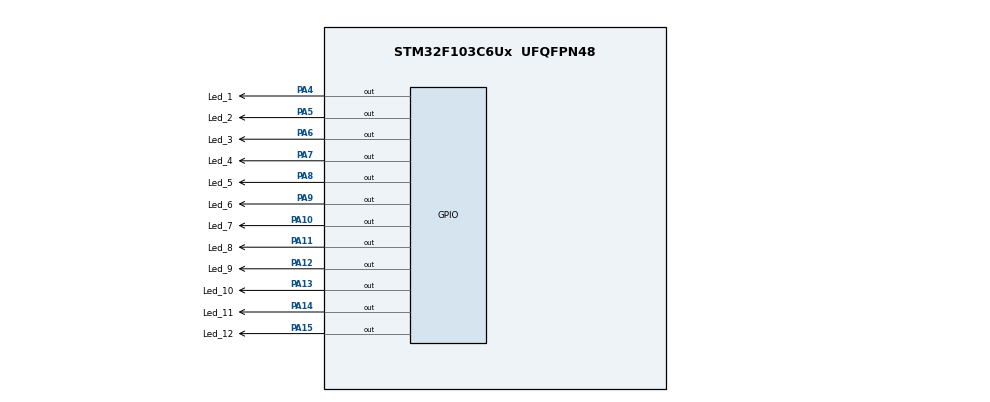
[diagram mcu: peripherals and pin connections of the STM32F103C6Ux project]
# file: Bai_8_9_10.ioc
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Mcu.Family=STM32F1
Mcu.Name=STM32F103C6Ux
Mcu.Package=UFQFPN48
NVIC.PriorityGroup=NVIC_PRIORITYGROUP_4
PA10.GPIO_Label=Led_7
PA10.Signal=GPIO_Output
PA11.GPIO_Label=Led_8
PA11.Signal=GPIO_Output
PA12.GPIO_Label=Led_9
PA12.Signal=GPIO_Output
PA13.GPIO_Label=Led_10
PA13.Signal=GPIO_Output
PA14.GPIO_Label=Led_11
PA14.Signal=GPIO_Output
PA15.GPIO_Label=Led_12
PA15.Signal=GPIO_Output
PA4.GPIO_Label=Led_1
PA4.Signal=GPIO_Output
PA5.GPIO_Label=Led_2
PA5.Signal=GPIO_Output
PA6.GPIO_Label=Led_3
PA6.Signal=GPIO_Output
PA7.GPIO_Label=Led_4
PA7.Signal=GPIO_Output
PA8.GPIO_Label=Led_5
PA8.Signal=GPIO_Output
PA9.GPIO_Label=Led_6
PA9.Signal=GPIO_Output
ProjectManager.HeapSize=0x200
ProjectManager.StackSize=0x400
ProjectManager.TargetToolchain=STM32CubeIDE
RCC.APB1Freq_Value=8000000
RCC.APB2Freq_Value=8000000
VP_SYS_VS_ND.Mode=No_Debug
board=custom

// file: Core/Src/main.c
/* USER CODE BEGIN Header */
/**
  ******************************************************************************
  * @file           : main.c
  * @brief          : Main program body (12-LED clock; Cycle1 -> Cycle2 -> Cycle3 realtime)
  ******************************************************************************
  * @attention
  *
  * Copyright (c) 2025.
  * All rights reserved.
  *
  ******************************************************************************
  */
/* USER CODE END Header */

#include "main.h"
#include <stdbool.h>

/* USER CODE BEGIN PD */

/* Cycle 3 step delay in milliseconds (1 second real-time) */
#define CYCLE3_STEP_MS 50

/* If LED is active HIGH set 1, if active LOW set 0 (default = 0) */
#define LED_ACTIVE_HIGH 0

/* USER CODE END PD */

/* RTC-like internal time for Cycle 3 (starts at 00:00:00) */
static int rtc_hour   = 0;
static int rtc_minute = 0;
static int rtc_second = 0;

void SystemClock_Config(void);
static void MX_GPIO_Init(void);
void Error_Handler(void);

/* Cycle functions */
void setNumberOnClock(int num);
void clearNumberOnClock(int num);
void displayClockRealtime(void);
void signalCycleEnd(int times, uint32_t on_ms, uint32_t off_ms);

/* USER CODE BEGIN 0 */

/* Map LED ports: use Led_x_GPIO_Port if CubeMX generated them, otherwise default to GPIOA */
#ifdef Led_1_GPIO_Port
  #define LED1_PORT Led_1_GPIO_Port
#else
  #define LED1_PORT GPIOA
#endif

#ifdef Led_2_GPIO_Port
  #define LED2_PORT Led_2_GPIO_Port
#else
  #define LED2_PORT GPIOA
#endif

#ifdef Led_3_GPIO_Port
  #define LED3_PORT Led_3_GPIO_Port
#else
  #define LED3_PORT GPIOA
#endif

#ifdef Led_4_GPIO_Port
  #define LED4_PORT Led_4_GPIO_Port
#else
  #define LED4_PORT GPIOA
#endif

#ifdef Led_5_GPIO_Port
  #define LED5_PORT Led_5_GPIO_Port
#else
  #define LED5_PORT GPIOA
#endif

#ifdef Led_6_GPIO_Port
  #define LED6_PORT Led_6_GPIO_Port
#else
  #define LED6_PORT GPIOA
#endif

#ifdef Led_7_GPIO_Port
  #define LED7_PORT Led_7_GPIO_Port
#else
  #define LED7_PORT GPIOA
#endif

#ifdef Led_8_GPIO_Port
  #define LED8_PORT Led_8_GPIO_Port
#else
  #define LED8_PORT GPIOA
#endif

#ifdef Led_9_GPIO_Port
  #define LED9_PORT Led_9_GPIO_Port
#else
  #define LED9_PORT GPIOA
#endif

#ifdef Led_10_GPIO_Port
  #define LED10_PORT Led_10_GPIO_Port
#else
  #define LED10_PORT GPIOA
#endif

#ifdef Led_11_GPIO_Port
  #define LED11_PORT Led_11_GPIO_Port
#else
  #define LED11_PORT GPIOA
#endif

#ifdef Led_12_GPIO_Port
  #define LED12_PORT Led_12_GPIO_Port
#else
  #define LED12_PORT GPIOA
#endif

/* LED on/off macros (auto-invert when active-low) */
#if LED_ACTIVE_HIGH
  #define LED_ON(port,pin)  HAL_GPIO_WritePin((port),(pin),GPIO_PIN_SET)
  #define LED_OFF(port,pin) HAL_GPIO_WritePin((port),(pin),GPIO_PIN_RESET)
#else
  #define LED_ON(port,pin)  HAL_GPIO_WritePin((port),(pin),GPIO_PIN_RESET)
  #define LED_OFF(port,pin) HAL_GPIO_WritePin((port),(pin),GPIO_PIN_SET)
#endif

/* led ports & pins arrays (index 0 -> Led_1, 11 -> Led_12) */
static GPIO_TypeDef* led_ports[12] = {
  LED1_PORT, LED2_PORT, LED3_PORT, LED4_PORT,
  LED5_PORT, LED6_PORT, LED7_PORT, LED8_PORT,
  LED9_PORT, LED10_PORT, LED11_PORT, LED12_PORT
};

static const uint16_t led_pins[12] = {
  Led_1_Pin,  Led_2_Pin,  Led_3_Pin,  Led_4_Pin,
  Led_5_Pin,  Led_6_Pin,  Led_7_Pin,  Led_8_Pin,
  Led_9_Pin,  Led_10_Pin, Led_11_Pin, Led_12_Pin
};

/* USER CODE END 0 */

int main(void)
{
  /* Reset of all peripherals, Initializes the Flash interface and the Systick. */
  HAL_Init();

  /* Configure the system clock */
  SystemClock_Config();

  /* Initialize all configured peripherals (GPIO for LEDs) */
  MX_GPIO_Init();

  /* Cycle 1: run once -> light a single LED (example: input 3 -> Led_3) */
  setNumberOnClock(3);
  HAL_Delay(1000);
  signalCycleEnd(1, 300, 300);

  /* Cycle 2: run once -> clear a single LED (example: input 7 -> Led_7) */
  clearNumberOnClock(7);
  HAL_Delay(1000);
  signalCycleEnd(1, 300, 300);

  /* Cycle 3: realtime clock starting at 00:00:00, runs forever */
  while (1)
  {
    displayClockRealtime();
    /* displayClockRealtime includes the delay (1 second) and time increment */
  }
}

void SystemClock_Config(void)
{
  RCC_OscInitTypeDef RCC_OscInitStruct = {0};
  RCC_ClkInitTypeDef RCC_ClkInitStruct = {0};

  /* Initializes the CPU, AHB and APB busses clocks */
  RCC_OscInitStruct.OscillatorType = RCC_OSCILLATORTYPE_HSI;
  RCC_OscInitStruct.HSIState = RCC_HSI_ON;
  RCC_OscInitStruct.HSICalibrationValue = RCC_HSICALIBRATION_DEFAULT;
  RCC_OscInitStruct.PLL.PLLState = RCC_PLL_NONE;
  if (HAL_RCC_OscConfig(&RCC_OscInitStruct) != HAL_OK)
  {
    Error_Handler();
  }

  RCC_ClkInitStruct.ClockType = RCC_CLOCKTYPE_HCLK | RCC_CLOCKTYPE_SYSCLK
                              | RCC_CLOCKTYPE_PCLK1 | RCC_CLOCKTYPE_PCLK2;
  RCC_ClkInitStruct.SYSCLKSource = RCC_SYSCLKSOURCE_HSI;
  RCC_ClkInitStruct.AHBCLKDivider = RCC_SYSCLK_DIV1;
  RCC_ClkInitStruct.APB1CLKDivider = RCC_HCLK_DIV1;
  RCC_ClkInitStruct.APB2CLKDivider = RCC_HCLK_DIV1;

  if (HAL_RCC_ClockConfig(&RCC_ClkInitStruct, FLASH_LATENCY_0) != HAL_OK)
  {
    Error_Handler();
  }
}

static void MX_GPIO_Init(void)
{
  GPIO_InitTypeDef GPIO_InitStruct = {0};

  /* Enable GPIO ports clocks used by leds (common default GPIOA) */
  __HAL_RCC_GPIOA_CLK_ENABLE();
  /* If some leds use other ports, enable those as well:
     __HAL_RCC_GPIOB_CLK_ENABLE(); __HAL_RCC_GPIOC_CLK_ENABLE(); */

  /* Initialize all LED pins as outputs */
  GPIO_InitStruct.Pin = Led_1_Pin|Led_2_Pin|Led_3_Pin|Led_4_Pin
                      | Led_5_Pin|Led_6_Pin|Led_7_Pin|Led_8_Pin
                      | Led_9_Pin|Led_10_Pin|Led_11_Pin|Led_12_Pin;
  GPIO_InitStruct.Mode = GPIO_MODE_OUTPUT_PP;
  GPIO_InitStruct.Pull = GPIO_NOPULL;
  GPIO_InitStruct.Speed = GPIO_SPEED_FREQ_LOW;
  HAL_GPIO_Init(GPIOA, &GPIO_InitStruct);
  /* If some Led_x_Pin are on ports other than GPIOA, call HAL_GPIO_Init for those ports separately. */

  /* Set initial state: ensure LEDs are OFF according to LED_ACTIVE_HIGH */
  for (int i = 0; i < 12; ++i)
  {
    if (LED_ACTIVE_HIGH) HAL_GPIO_WritePin(led_ports[i], led_pins[i], GPIO_PIN_RESET);
    else                 HAL_GPIO_WritePin(led_ports[i], led_pins[i], GPIO_PIN_SET);
  }
}

/* =========================
   Cycle / helper functions
   ========================= */

/**
 * Cycle 1
 * Turn ON only the LED corresponding to num (0..11).
 */
void setNumberOnClock(int num)
{
  if (num < 0 || num > 11) return;
  for (int i = 0; i < 12; ++i)
  {
    if (i == num) LED_ON(led_ports[i], led_pins[i]);
    else          LED_OFF(led_ports[i], led_pins[i]);
  }
}

/**
 * Cycle 2
 * Turn OFF only the LED corresponding to num (0..11); turn ON all others.
 */
void clearNumberOnClock(int num)
{
  if (num < 0 || num > 11) return;
  for (int i = 0; i < 12; ++i)
  {
    if (i == num) LED_OFF(led_ports[i], led_pins[i]);
    else          LED_ON(led_ports[i], led_pins[i]);
  }
}

/**
 * Cycle 3 (realtime)
 * Display rtc_hour:rtc_minute:rtc_second on 12-LED clock and advance time by 1 second.
 * - Hour mapped to 0..11 via rtc_hour % 12
 * - Minute/second mapped by /5 to 0..11
 * This function blocks for CYCLE3_STEP_MS (1 second) per call.
 */
void displayClockRealtime(void)
{
  int h = (rtc_hour % 12 + 12) % 12;
  int m = ((rtc_minute / 5) % 12 + 12) % 12;
  int s = ((rtc_second / 5) % 12 + 12) % 12;

  /* Turn all off first */
  for (int i = 0; i < 12; ++i) LED_OFF(led_ports[i], led_pins[i]);

  /* Turn on hour, minute, second LEDs */
  LED_ON(led_ports[h], led_pins[h]);
  LED_ON(led_ports[m], led_pins[m]);
  LED_ON(led_ports[s], led_pins[s]);

  /* Wait one second (real) */
  HAL_Delay(CYCLE3_STEP_MS);

  /* Increment time */
  rtc_second++;
  if (rtc_second >= 60) { rtc_second = 0; rtc_minute++; }
  if (rtc_minute >= 60) { rtc_minute = 0; rtc_hour++; }
  if (rtc_hour >= 24)   { rtc_hour = 0; }
}

/**
 * Signal end of a cycle by blinking all LEDs (times times).
 */
void signalCycleEnd(int times, uint32_t on_ms, uint32_t off_ms)
{
  for (int t = 0; t < times; ++t)
  {
    for (int i = 0; i < 12; ++i) LED_ON(led_ports[i], led_pins[i]);
    HAL_Delay(on_ms);
    for (int i = 0; i < 12; ++i) LED_OFF(led_ports[i], led_pins[i]);
    HAL_Delay(off_ms);
  }
}

void Error_Handler(void)
{
  __disable_irq();
  while (1)
  {
    /* Blink all to indicate error */
    for (int i = 0; i < 12; ++i) LED_ON(led_ports[i], led_pins[i]);
    HAL_Delay(100);
    for (int i = 0; i < 12; ++i) LED_OFF(led_ports[i], led_pins[i]);
    HAL_Delay(100);
  }
}
